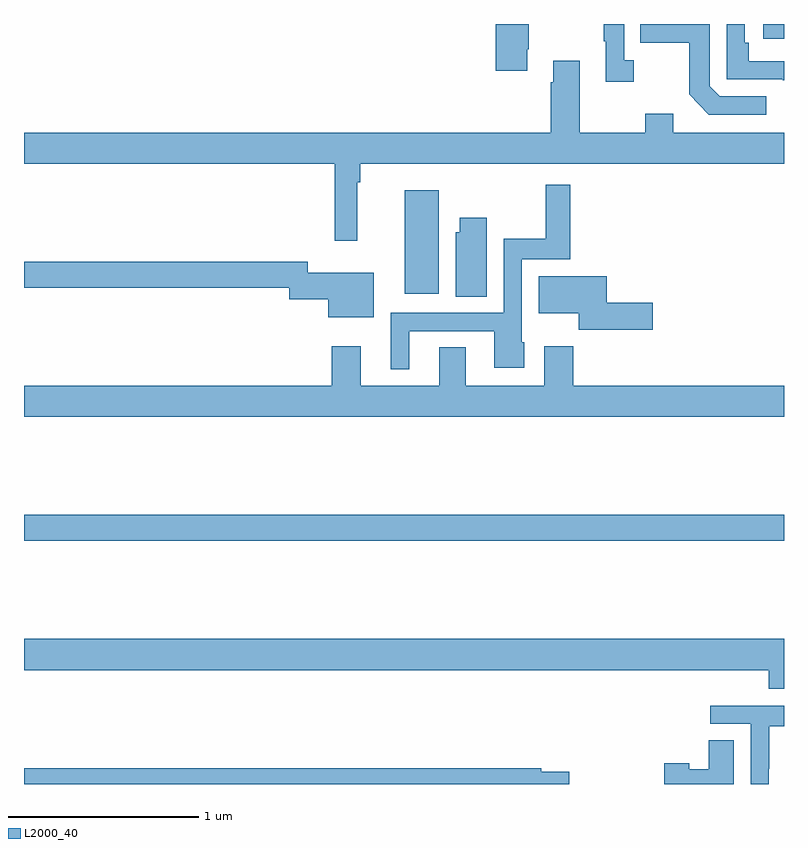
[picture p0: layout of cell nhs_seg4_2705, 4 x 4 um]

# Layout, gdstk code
import gdstk
lib = gdstk.Library(unit=1e-6, precision=1e-09)
def R(c, l, rs):  # rectangles x0, y0, x1, y1
    for r in rs: c.add(gdstk.rectangle(r[:2], r[2:], *l))
def P(c, l, *ps):  # polygons
    for p in ps: c.add(gdstk.Polygon(p, *l))
L2000_40 = (2000, 40)

nhs_seg4_2705 = lib.new_cell('nhs_seg4_2705')
R(nhs_seg4_2705, L2000_40, [(253,784.18,257,784.316), (255.005,785.48,255.184,786.025), (256.892,786.822,257,786.9)])
P(nhs_seg4_2705, L2000_40, [(256.21,786.71),(256.158,786.71),(256.158,786.9),(256.05,786.9),(256.05,786.809),(256.061,786.809),(256.061,786.597),(256.21,786.597)],
  [(255.649,786.766),(255.657,786.766),(255.657,786.9),(255.482,786.9),(255.482,786.654),(255.649,786.654)],
  [(256.906,786.519),(256.662,786.519),(256.608,786.573),(256.608,786.9),(256.243,786.9),(256.243,786.802),(256.5,786.802),(256.5,786.529),(256.605,786.423),(256.906,786.423)],
  [(257,786.705),(256.814,786.705),(256.814,786.802),(256.794,786.802),(256.794,786.9),(256.698,786.9),(256.698,786.609),(256.993,786.609),(256.993,786.604),(257,786.604)],
  [(254.754,786.068),(254.771,786.068),(254.771,786.164),(257,786.164),(257,786.328),(256.417,786.328),(256.417,786.427),(256.27,786.427),(256.27,786.328),(255.925,786.328),(255.925,786.706),(255.785,786.706),(255.785,786.593),(255.773,786.593),(255.773,786.328),(253,786.328),(253,786.164),(254.635,786.164),(254.635,785.76),(254.754,785.76)],
  [(255.028,785.283),(255.476,785.283),(255.476,785.09),(255.634,785.09),(255.634,785.226),(255.621,785.226),(255.621,785.661),(255.875,785.661),(255.875,786.055),(255.747,786.055),(255.747,785.77),(255.525,785.77),(255.525,785.379),(254.93,785.379),(254.93,785.082),(255.028,785.082)],
  [(255.436,785.881),(255.293,785.881),(255.293,785.805),(255.272,785.805),(255.272,785.464),(255.436,785.464)],
  [(254.842,785.59),(254.493,785.59),(254.493,785.648),(253,785.648),(253,785.512),(254.397,785.512),(254.397,785.451),(254.6,785.451),(254.6,785.357),(254.842,785.357)],
  [(256.309,785.432),(256.066,785.432),(256.066,785.572),(255.71,785.572),(255.71,785.378),(255.92,785.378),(255.92,785.29),(256.309,785.29)],
  [(257,784.996),(255.89,784.996),(255.89,785.203),(255.737,785.203),(255.737,784.996),(255.325,784.996),(255.325,785.198),(255.185,785.198),(255.185,784.996),(254.773,784.996),(254.773,785.203),(254.621,785.203),(254.621,784.996),(253,784.996),(253,784.832),(257,784.832)],
  [(257,783.664),(253,783.664),(253,783.5),(256.919,783.5),(256.919,783.401),(257,783.401)],
  [(256.92,782.98),(256.923,782.98),(256.923,783.204),(257,783.204),(257,783.312),(256.611,783.312),(256.611,783.216),(256.824,783.216),(256.824,782.9),(256.92,782.9)],
  [(256.735,783.131),(256.604,783.131),(256.604,782.977),(256.5,782.977),(256.5,783.008),(256.37,783.008),(256.37,782.9),(256.735,782.9)],
  [(255.869,782.964),(255.722,782.964),(255.722,782.984),(253,782.984),(253,782.9),(255.869,782.9)])

lib.write_gds('nhs_seg4_2705.gds')
